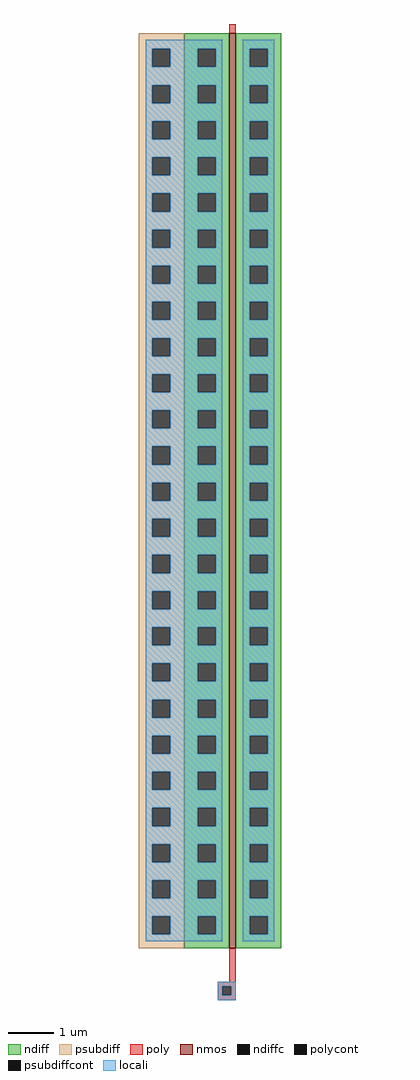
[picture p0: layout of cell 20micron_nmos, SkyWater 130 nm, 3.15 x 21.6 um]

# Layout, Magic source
magic
tech sky130A
<< nmos >>
rect -320 10245 -305 12270
<< ndiff >>
rect -420 12235 -320 12270
rect -420 12195 -390 12235
rect -350 12195 -320 12235
rect -420 12155 -320 12195
rect -420 12115 -390 12155
rect -350 12115 -320 12155
rect -420 12075 -320 12115
rect -420 12035 -390 12075
rect -350 12035 -320 12075
rect -420 11995 -320 12035
rect -420 11955 -390 11995
rect -350 11955 -320 11995
rect -420 11915 -320 11955
rect -420 11875 -390 11915
rect -350 11875 -320 11915
rect -420 11835 -320 11875
rect -420 11795 -390 11835
rect -350 11795 -320 11835
rect -420 11755 -320 11795
rect -420 11715 -390 11755
rect -350 11715 -320 11755
rect -420 11675 -320 11715
rect -420 11635 -390 11675
rect -350 11635 -320 11675
rect -420 11595 -320 11635
rect -420 11555 -390 11595
rect -350 11555 -320 11595
rect -420 11515 -320 11555
rect -420 11475 -390 11515
rect -350 11475 -320 11515
rect -420 11435 -320 11475
rect -420 11395 -390 11435
rect -350 11395 -320 11435
rect -420 11355 -320 11395
rect -420 11315 -390 11355
rect -350 11315 -320 11355
rect -420 11275 -320 11315
rect -420 11235 -390 11275
rect -350 11235 -320 11275
rect -420 11195 -320 11235
rect -420 11155 -390 11195
rect -350 11155 -320 11195
rect -420 11115 -320 11155
rect -420 11075 -390 11115
rect -350 11075 -320 11115
rect -420 11035 -320 11075
rect -420 10995 -390 11035
rect -350 10995 -320 11035
rect -420 10955 -320 10995
rect -420 10915 -390 10955
rect -350 10915 -320 10955
rect -420 10875 -320 10915
rect -420 10835 -390 10875
rect -350 10835 -320 10875
rect -420 10795 -320 10835
rect -420 10755 -390 10795
rect -350 10755 -320 10795
rect -420 10715 -320 10755
rect -420 10675 -390 10715
rect -350 10675 -320 10715
rect -420 10635 -320 10675
rect -420 10595 -390 10635
rect -350 10595 -320 10635
rect -420 10555 -320 10595
rect -420 10515 -390 10555
rect -350 10515 -320 10555
rect -420 10475 -320 10515
rect -420 10435 -390 10475
rect -350 10435 -320 10475
rect -420 10395 -320 10435
rect -420 10355 -390 10395
rect -350 10355 -320 10395
rect -420 10315 -320 10355
rect -420 10275 -390 10315
rect -350 10275 -320 10315
rect -420 10245 -320 10275
rect -305 12235 -205 12270
rect -305 12195 -275 12235
rect -235 12195 -205 12235
rect -305 12155 -205 12195
rect -305 12115 -275 12155
rect -235 12115 -205 12155
rect -305 12075 -205 12115
rect -305 12035 -275 12075
rect -235 12035 -205 12075
rect -305 11995 -205 12035
rect -305 11955 -275 11995
rect -235 11955 -205 11995
rect -305 11915 -205 11955
rect -305 11875 -275 11915
rect -235 11875 -205 11915
rect -305 11835 -205 11875
rect -305 11795 -275 11835
rect -235 11795 -205 11835
rect -305 11755 -205 11795
rect -305 11715 -275 11755
rect -235 11715 -205 11755
rect -305 11675 -205 11715
rect -305 11635 -275 11675
rect -235 11635 -205 11675
rect -305 11595 -205 11635
rect -305 11555 -275 11595
rect -235 11555 -205 11595
rect -305 11515 -205 11555
rect -305 11475 -275 11515
rect -235 11475 -205 11515
rect -305 11435 -205 11475
rect -305 11395 -275 11435
rect -235 11395 -205 11435
rect -305 11355 -205 11395
rect -305 11315 -275 11355
rect -235 11315 -205 11355
rect -305 11275 -205 11315
rect -305 11235 -275 11275
rect -235 11235 -205 11275
rect -305 11195 -205 11235
rect -305 11155 -275 11195
rect -235 11155 -205 11195
rect -305 11115 -205 11155
rect -305 11075 -275 11115
rect -235 11075 -205 11115
rect -305 11035 -205 11075
rect -305 10995 -275 11035
rect -235 10995 -205 11035
rect -305 10955 -205 10995
rect -305 10915 -275 10955
rect -235 10915 -205 10955
rect -305 10875 -205 10915
rect -305 10835 -275 10875
rect -235 10835 -205 10875
rect -305 10795 -205 10835
rect -305 10755 -275 10795
rect -235 10755 -205 10795
rect -305 10715 -205 10755
rect -305 10675 -275 10715
rect -235 10675 -205 10715
rect -305 10635 -205 10675
rect -305 10595 -275 10635
rect -235 10595 -205 10635
rect -305 10555 -205 10595
rect -305 10515 -275 10555
rect -235 10515 -205 10555
rect -305 10475 -205 10515
rect -305 10435 -275 10475
rect -235 10435 -205 10475
rect -305 10395 -205 10435
rect -305 10355 -275 10395
rect -235 10355 -205 10395
rect -305 10315 -205 10355
rect -305 10275 -275 10315
rect -235 10275 -205 10315
rect -305 10245 -205 10275
<< ndiffc >>
rect -390 12195 -350 12235
rect -390 12115 -350 12155
rect -390 12035 -350 12075
rect -390 11955 -350 11995
rect -390 11875 -350 11915
rect -390 11795 -350 11835
rect -390 11715 -350 11755
rect -390 11635 -350 11675
rect -390 11555 -350 11595
rect -390 11475 -350 11515
rect -390 11395 -350 11435
rect -390 11315 -350 11355
rect -390 11235 -350 11275
rect -390 11155 -350 11195
rect -390 11075 -350 11115
rect -390 10995 -350 11035
rect -390 10915 -350 10955
rect -390 10835 -350 10875
rect -390 10755 -350 10795
rect -390 10675 -350 10715
rect -390 10595 -350 10635
rect -390 10515 -350 10555
rect -390 10435 -350 10475
rect -390 10355 -350 10395
rect -390 10275 -350 10315
rect -275 12195 -235 12235
rect -275 12115 -235 12155
rect -275 12035 -235 12075
rect -275 11955 -235 11995
rect -275 11875 -235 11915
rect -275 11795 -235 11835
rect -275 11715 -235 11755
rect -275 11635 -235 11675
rect -275 11555 -235 11595
rect -275 11475 -235 11515
rect -275 11395 -235 11435
rect -275 11315 -235 11355
rect -275 11235 -235 11275
rect -275 11155 -235 11195
rect -275 11075 -235 11115
rect -275 10995 -235 11035
rect -275 10915 -235 10955
rect -275 10835 -235 10875
rect -275 10755 -235 10795
rect -275 10675 -235 10715
rect -275 10595 -235 10635
rect -275 10515 -235 10555
rect -275 10435 -235 10475
rect -275 10355 -235 10395
rect -275 10275 -235 10315
<< psubdiff >>
rect -520 12235 -420 12270
rect -520 12195 -490 12235
rect -450 12195 -420 12235
rect -520 12155 -420 12195
rect -520 12115 -490 12155
rect -450 12115 -420 12155
rect -520 12075 -420 12115
rect -520 12035 -490 12075
rect -450 12035 -420 12075
rect -520 11995 -420 12035
rect -520 11955 -490 11995
rect -450 11955 -420 11995
rect -520 11915 -420 11955
rect -520 11875 -490 11915
rect -450 11875 -420 11915
rect -520 11835 -420 11875
rect -520 11795 -490 11835
rect -450 11795 -420 11835
rect -520 11755 -420 11795
rect -520 11715 -490 11755
rect -450 11715 -420 11755
rect -520 11675 -420 11715
rect -520 11635 -490 11675
rect -450 11635 -420 11675
rect -520 11595 -420 11635
rect -520 11555 -490 11595
rect -450 11555 -420 11595
rect -520 11515 -420 11555
rect -520 11475 -490 11515
rect -450 11475 -420 11515
rect -520 11435 -420 11475
rect -520 11395 -490 11435
rect -450 11395 -420 11435
rect -520 11355 -420 11395
rect -520 11315 -490 11355
rect -450 11315 -420 11355
rect -520 11275 -420 11315
rect -520 11235 -490 11275
rect -450 11235 -420 11275
rect -520 11195 -420 11235
rect -520 11155 -490 11195
rect -450 11155 -420 11195
rect -520 11115 -420 11155
rect -520 11075 -490 11115
rect -450 11075 -420 11115
rect -520 11035 -420 11075
rect -520 10995 -490 11035
rect -450 10995 -420 11035
rect -520 10955 -420 10995
rect -520 10915 -490 10955
rect -450 10915 -420 10955
rect -520 10875 -420 10915
rect -520 10835 -490 10875
rect -450 10835 -420 10875
rect -520 10795 -420 10835
rect -520 10755 -490 10795
rect -450 10755 -420 10795
rect -520 10715 -420 10755
rect -520 10675 -490 10715
rect -450 10675 -420 10715
rect -520 10635 -420 10675
rect -520 10595 -490 10635
rect -450 10595 -420 10635
rect -520 10555 -420 10595
rect -520 10515 -490 10555
rect -450 10515 -420 10555
rect -520 10475 -420 10515
rect -520 10435 -490 10475
rect -450 10435 -420 10475
rect -520 10395 -420 10435
rect -520 10355 -490 10395
rect -450 10355 -420 10395
rect -520 10315 -420 10355
rect -520 10275 -490 10315
rect -450 10275 -420 10315
rect -520 10245 -420 10275
<< psubdiffcont >>
rect -490 12195 -450 12235
rect -490 12115 -450 12155
rect -490 12035 -450 12075
rect -490 11955 -450 11995
rect -490 11875 -450 11915
rect -490 11795 -450 11835
rect -490 11715 -450 11755
rect -490 11635 -450 11675
rect -490 11555 -450 11595
rect -490 11475 -450 11515
rect -490 11395 -450 11435
rect -490 11315 -450 11355
rect -490 11235 -450 11275
rect -490 11155 -450 11195
rect -490 11075 -450 11115
rect -490 10995 -450 11035
rect -490 10915 -450 10955
rect -490 10835 -450 10875
rect -490 10755 -450 10795
rect -490 10675 -450 10715
rect -490 10595 -450 10635
rect -490 10515 -450 10555
rect -490 10435 -450 10475
rect -490 10355 -450 10395
rect -490 10275 -450 10315
<< poly >>
rect -320 12270 -305 12290
rect -320 10170 -305 10245
rect -345 10160 -305 10170
rect -345 10140 -335 10160
rect -315 10140 -305 10160
rect -345 10130 -305 10140
<< polycont >>
rect -335 10140 -315 10160
<< locali >>
rect -505 12235 -335 12255
rect -505 12195 -490 12235
rect -450 12195 -390 12235
rect -350 12195 -335 12235
rect -505 12155 -335 12195
rect -505 12115 -490 12155
rect -450 12115 -390 12155
rect -350 12115 -335 12155
rect -505 12075 -335 12115
rect -505 12035 -490 12075
rect -450 12035 -390 12075
rect -350 12035 -335 12075
rect -505 11995 -335 12035
rect -505 11955 -490 11995
rect -450 11955 -390 11995
rect -350 11955 -335 11995
rect -505 11915 -335 11955
rect -505 11875 -490 11915
rect -450 11875 -390 11915
rect -350 11875 -335 11915
rect -505 11835 -335 11875
rect -505 11795 -490 11835
rect -450 11795 -390 11835
rect -350 11795 -335 11835
rect -505 11755 -335 11795
rect -505 11715 -490 11755
rect -450 11715 -390 11755
rect -350 11715 -335 11755
rect -505 11675 -335 11715
rect -505 11635 -490 11675
rect -450 11635 -390 11675
rect -350 11635 -335 11675
rect -505 11595 -335 11635
rect -505 11555 -490 11595
rect -450 11555 -390 11595
rect -350 11555 -335 11595
rect -505 11515 -335 11555
rect -505 11475 -490 11515
rect -450 11475 -390 11515
rect -350 11475 -335 11515
rect -505 11435 -335 11475
rect -505 11395 -490 11435
rect -450 11395 -390 11435
rect -350 11395 -335 11435
rect -505 11355 -335 11395
rect -505 11315 -490 11355
rect -450 11315 -390 11355
rect -350 11315 -335 11355
rect -505 11275 -335 11315
rect -505 11235 -490 11275
rect -450 11235 -390 11275
rect -350 11235 -335 11275
rect -505 11195 -335 11235
rect -505 11155 -490 11195
rect -450 11155 -390 11195
rect -350 11155 -335 11195
rect -505 11115 -335 11155
rect -505 11075 -490 11115
rect -450 11075 -390 11115
rect -350 11075 -335 11115
rect -505 11035 -335 11075
rect -505 10995 -490 11035
rect -450 10995 -390 11035
rect -350 10995 -335 11035
rect -505 10955 -335 10995
rect -505 10915 -490 10955
rect -450 10915 -390 10955
rect -350 10915 -335 10955
rect -505 10875 -335 10915
rect -505 10835 -490 10875
rect -450 10835 -390 10875
rect -350 10835 -335 10875
rect -505 10795 -335 10835
rect -505 10755 -490 10795
rect -450 10755 -390 10795
rect -350 10755 -335 10795
rect -505 10715 -335 10755
rect -505 10675 -490 10715
rect -450 10675 -390 10715
rect -350 10675 -335 10715
rect -505 10635 -335 10675
rect -505 10595 -490 10635
rect -450 10595 -390 10635
rect -350 10595 -335 10635
rect -505 10555 -335 10595
rect -505 10515 -490 10555
rect -450 10515 -390 10555
rect -350 10515 -335 10555
rect -505 10475 -335 10515
rect -505 10435 -490 10475
rect -450 10435 -390 10475
rect -350 10435 -335 10475
rect -505 10395 -335 10435
rect -505 10355 -490 10395
rect -450 10355 -390 10395
rect -350 10355 -335 10395
rect -505 10315 -335 10355
rect -505 10275 -490 10315
rect -450 10275 -390 10315
rect -350 10275 -335 10315
rect -505 10260 -335 10275
rect -290 12235 -220 12255
rect -290 12195 -275 12235
rect -235 12195 -220 12235
rect -290 12155 -220 12195
rect -290 12115 -275 12155
rect -235 12115 -220 12155
rect -290 12075 -220 12115
rect -290 12035 -275 12075
rect -235 12035 -220 12075
rect -290 11995 -220 12035
rect -290 11955 -275 11995
rect -235 11955 -220 11995
rect -290 11915 -220 11955
rect -290 11875 -275 11915
rect -235 11875 -220 11915
rect -290 11835 -220 11875
rect -290 11795 -275 11835
rect -235 11795 -220 11835
rect -290 11755 -220 11795
rect -290 11715 -275 11755
rect -235 11715 -220 11755
rect -290 11675 -220 11715
rect -290 11635 -275 11675
rect -235 11635 -220 11675
rect -290 11595 -220 11635
rect -290 11555 -275 11595
rect -235 11555 -220 11595
rect -290 11515 -220 11555
rect -290 11475 -275 11515
rect -235 11475 -220 11515
rect -290 11435 -220 11475
rect -290 11395 -275 11435
rect -235 11395 -220 11435
rect -290 11355 -220 11395
rect -290 11315 -275 11355
rect -235 11315 -220 11355
rect -290 11275 -220 11315
rect -290 11235 -275 11275
rect -235 11235 -220 11275
rect -290 11195 -220 11235
rect -290 11155 -275 11195
rect -235 11155 -220 11195
rect -290 11115 -220 11155
rect -290 11075 -275 11115
rect -235 11075 -220 11115
rect -290 11035 -220 11075
rect -290 10995 -275 11035
rect -235 10995 -220 11035
rect -290 10955 -220 10995
rect -290 10915 -275 10955
rect -235 10915 -220 10955
rect -290 10875 -220 10915
rect -290 10835 -275 10875
rect -235 10835 -220 10875
rect -290 10795 -220 10835
rect -290 10755 -275 10795
rect -235 10755 -220 10795
rect -290 10715 -220 10755
rect -290 10675 -275 10715
rect -235 10675 -220 10715
rect -290 10635 -220 10675
rect -290 10595 -275 10635
rect -235 10595 -220 10635
rect -290 10555 -220 10595
rect -290 10515 -275 10555
rect -235 10515 -220 10555
rect -290 10475 -220 10515
rect -290 10435 -275 10475
rect -235 10435 -220 10475
rect -290 10395 -220 10435
rect -290 10355 -275 10395
rect -235 10355 -220 10395
rect -290 10315 -220 10355
rect -290 10275 -275 10315
rect -235 10275 -220 10315
rect -290 10260 -220 10275
rect -345 10160 -305 10170
rect -345 10140 -335 10160
rect -315 10140 -305 10160
rect -345 10130 -305 10140
<< end >>
